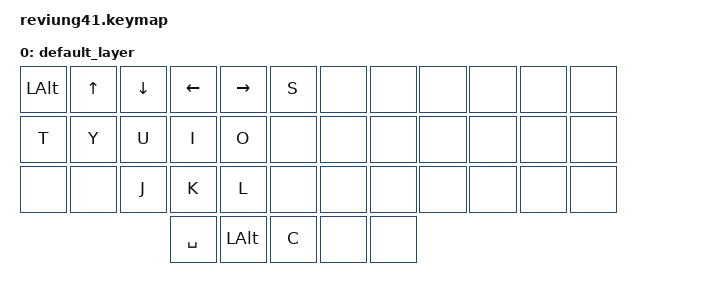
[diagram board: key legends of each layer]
/*
 * Copyright (c) 2020 The ZMK Contributors
 *
 * SPDX-License-Identifier: MIT
 */

#include <behaviors.dtsi>
#include <dt-bindings/zmk/keys.h>

/ {
        keymap {
                compatible = "zmk,keymap";

                default_layer {
// -------------------------------------------------------------------------------------
// |  TAB |  Q  |  W  |  E  |  R  |  T  |   |  Y  |  U   |  I  |  O  |  P  |   BKSP    |
// | CTRL |  A  |  S  |  D  |  F  |  G  |   |  H  |  J   |  K  |  L  |  ;  |    '      |
// | SHFT |  Z  |  X  |  C  |  V  |  B  |   |  N  |  M   |  ,  |  .  |  /  | SHFT(RET) |
//                         | ALT | LWR | SPC | RSE  | ALT |
                             bindings = <
   &kp LALT  &kp UP  &kp DOWN  &kp LEFT  &kp RIGHT  &kp S        &none  &none  &none  &none  &none  &none
   &kp T     &kp Y   &kp U     &kp I     &kp O      &none        &none  &none  &none  &none  &none  &none
   &none     &none   &kp J     &kp K     &kp L      &none        &none  &none  &none  &none  &none  &none
                                   &kp SPACE  &kp LALT   &kp C   &none  &none
                        >;
                };
        };
};
